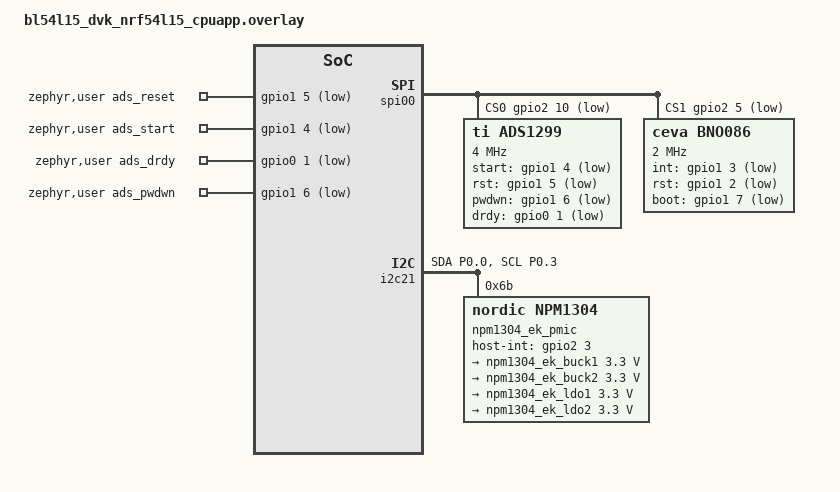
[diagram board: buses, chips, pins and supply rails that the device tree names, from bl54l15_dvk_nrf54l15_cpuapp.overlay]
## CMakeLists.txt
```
cmake_minimum_required(VERSION 3.20.0)

find_package(Zephyr REQUIRED HINTS $ENV{ZEPHYR_BASE})

add_subdirectory(drivers/bno086)
add_subdirectory(drivers/ads1299)

project(snoozy_final)

set(APP_SRC_DIR ${CMAKE_CURRENT_SOURCE_DIR})

target_sources(app PRIVATE
    src/main.c
)

list(APPEND DTS_ROOT ${CMAKE_CURRENT_SOURCE_DIR})
```

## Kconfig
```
#
# Copyright (c) 2018 Nordic Semiconductor
#
# SPDX-License-Identifier: LicenseRef-Nordic-5-Clause
#

source "Kconfig.zephyr"

rsource "drivers/Kconfig"

menu "Snoozy NUS BLE GATT Service"

config BT_NUS_THREAD_STACK_SIZE
	int "Thread stack size"
	default 1024
	help
	  Stack size used in each of the two threads

config BT_NUS_UART_BUFFER_SIZE
	int "UART payload buffer element size"
	default 40
	help
	  Size of the payload buffer in each RX and TX FIFO element

config BT_NUS_SECURITY_ENABLED
	bool "Enable security"
	default y
	select BT_SMP
	help
	  "Enable BLE security for the UART service"

config BT_NUS_UART_RX_WAIT_TIME
	int "Timeout for UART RX complete event"
	default 50000
	help
	  Wait for RX complete event time in microseconds

config SETTINGS
	default y

config ZMS
	default y if (SOC_FLASH_NRF_RRAM || SOC_FLASH_NRF_MRAM)

config NVS
	default y if !(SOC_FLASH_NRF_RRAM || SOC_FLASH_NRF_MRAM)

endmenu
```

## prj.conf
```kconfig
# Bluetooth
CONFIG_BT=y
CONFIG_BT_PERIPHERAL=y
CONFIG_BT_DEVICE_NAME="Snoozy"
CONFIG_BT_NUS=y
CONFIG_BT_GATT_DYNAMIC_DB=y
CONFIG_BT_MAX_CONN=1

# Increase ATT MTU (BLE 4.2+: max 247; payload = MTU - 3 = 244 bytes/notification)
CONFIG_BT_L2CAP_TX_MTU=247
CONFIG_BT_BUF_ACL_TX_SIZE=251
CONFIG_BT_BUF_ACL_RX_SIZE=251
CONFIG_BT_ATT_TX_COUNT=4

# Heap and Workqueue
CONFIG_HEAP_MEM_POOL_SIZE=2048
CONFIG_SYSTEM_WORKQUEUE_STACK_SIZE=2048

# Console for debugging
CONFIG_CONSOLE=y
CONFIG_UART_CONSOLE=n
CONFIG_RTT_CONSOLE=y

# Logging
CONFIG_LOG=y
CONFIG_LOG_MODE_IMMEDIATE=n
CONFIG_LOG_BACKEND_RTT=y
CONFIG_USE_SEGGER_RTT=y

# SPI
CONFIG_SPI=y
CONFIG_SPI_NRFX=y

# I2C
CONFIG_I2C=y
CONFIG_MFD=y

# GPIO
CONFIG_GPIO=y

# BNO086 IMU driver
CONFIG_BNO086=y

# PRINT
CONFIG_PRINTK=y

CONFIG_FAULT_DUMP=2
CONFIG_RESET_ON_FATAL_ERROR=n   # don't auto-reset, so you can see the fault
CONFIG_MAIN_STACK_SIZE=4096

CONFIG_BT_GATT_CLIENT=y
CONFIG_CBPRINTF_FP_SUPPORT=y
```

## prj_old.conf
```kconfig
#
# Copyright (c) 2018 Nordic Semiconductor
#
# SPDX-License-Identifier: LicenseRef-Nordic-5-Clause
#

# Enable the UART driver
CONFIG_UART_ASYNC_API=y
CONFIG_NRFX_UARTE0=n
CONFIG_SERIAL=y

CONFIG_GPIO=y

# Make sure printk is printing to the UART console
CONFIG_CONSOLE=y
CONFIG_UART_CONSOLE=y

CONFIG_HEAP_MEM_POOL_SIZE=2048

CONFIG_BT=y
CONFIG_BT_PERIPHERAL=y
CONFIG_BT_DEVICE_NAME="Snoozy"
CONFIG_BT_MAX_CONN=1
CONFIG_BT_MAX_PAIRED=1

# Enable the NUS service
CONFIG_BT_NUS=y

# Enable bonding
CONFIG_BT_SETTINGS=y
CONFIG_FLASH=y
CONFIG_FLASH_PAGE_LAYOUT=y
CONFIG_FLASH_MAP=y

# Enable DK LED and Buttons library
# CONFIG_DK_LIBRARY=y

CONFIG_SYSTEM_WORKQUEUE_STACK_SIZE=2048
# Config logger
CONFIG_LOG=y
CONFIG_USE_SEGGER_RTT=y
CONFIG_LOG_BACKEND_RTT=y
CONFIG_LOG_BACKEND_UART=n
CONFIG_LOG_PRINTK=n

CONFIG_ASSERT=y

# SPI
CONFIG_SPI=y

# I2C
CONFIG_I2C=y
```

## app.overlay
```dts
/*
 * Copyright (c) 2022 Nordic Semiconductor ASA
 *
 * SPDX-License-Identifier: LicenseRef-Nordic-5-Clause
 */

/ {
	chosen {
		nordic,nus-uart = &uart20;
	};


};
```

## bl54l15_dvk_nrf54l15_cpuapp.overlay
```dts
#include <dt-bindings/regulator/npm13xx.h>
#include <zephyr/dt-bindings/input/input-event-codes.h>
#include <zephyr/dt-bindings/pinctrl/nrf-pinctrl.h>

/*
 * spi00 has no default-gpio-port restriction and is proven to drive GPIO2
 * pins (DVK used it for NOR flash on P2.01/P2.02/P2.04).  spi20 has
 * default-gpio-port = gpio1 and cross-domain MOSI on P2.04 does not work.
 * Move ADS1299 and BNO086 to spi00.
 */

/* Override spi00 pinctrl: board default has MOSI=P2.02/MISO=P2.04 (NOR flash);
 * our PCB routes P2.04→ADS1299 DIN and P2.02→ADS1299 DOUT, so swap them. */
&spi00_default {
    group1 {
        psels = <NRF_PSEL(SPIM_SCK,  2, 1)>,
                <NRF_PSEL(SPIM_MOSI, 2, 4)>,
                <NRF_PSEL(SPIM_MISO, 2, 2)>;
    };
};
&spi00_sleep {
    group1 {
        psels = <NRF_PSEL(SPIM_SCK,  2, 1)>,
                <NRF_PSEL(SPIM_MOSI, 2, 4)>,
                <NRF_PSEL(SPIM_MISO, 2, 2)>;
        low-power-enable;
    };
};

&spi00 {
    status = "okay";
    cs-gpios =  <&gpio2 10 GPIO_ACTIVE_LOW>,   /* ADS1299 CS */
                <&gpio2 5  GPIO_ACTIVE_LOW>;    /* BNO086  CS */
    /* pinctrl-0/1 already point to spi00_default/spi00_sleep from board DTS */

    ads1299: ads1299@0 {
        compatible = "ti,ads1299";
        reg = <0>;
        spi-max-frequency = <4000000>;
        label = "ADS1299";
        start-gpios = <&gpio1 4 GPIO_ACTIVE_LOW>;
        rst-gpios   = <&gpio1 5 GPIO_ACTIVE_LOW>;
        pwdwn-gpios = <&gpio1 6 GPIO_ACTIVE_LOW>;
        drdy-gpios  = <&gpio0 1 GPIO_ACTIVE_LOW>;
    };

    bno086: bno086@1 {
        compatible = "ceva,bno086";
        reg = <1>;
        spi-max-frequency = <2000000>;
        label = "BNO086";
        int-gpios  = <&gpio1 3 GPIO_ACTIVE_LOW>;
        rst-gpios  = <&gpio1 2 GPIO_ACTIVE_LOW>;
        boot-gpios = <&gpio1 7 GPIO_ACTIVE_LOW>;
    };
};

/* Disable spi20 — was used before but cross-domain MOSI doesn't work */
&spi20 {
    status = "disabled";
};

/* Disable the on-board NOR flash that was on spi00 */
&mx25r64 {
    status = "disabled";
};

/ {
    zephyr,user {
        ads_reset_gpios = <&gpio1 5 GPIO_ACTIVE_LOW>;
        ads_start_gpios = <&gpio1 4 GPIO_ACTIVE_LOW>;
        ads_drdy_gpios  = <&gpio0 1 GPIO_ACTIVE_LOW>;
        ads_pwdwn_gpios = <&gpio1 6 GPIO_ACTIVE_LOW>;
    };
};

/* Board enables i2c20 on P0.00/P0.03, same pins we use for i2c21 — disable it */
/* (i2c20_default pinctrl node not present in this board DTS; peripheral disabled below) */

/delete-node/ &{/pin-controller/uart20_default/group1/};
/delete-node/ &{/pin-controller/uart20_default/group2/};

&i2c21 {
    status = "okay";
    pinctrl-0 = <&i2c21_default>;
    pinctrl-1 = <&i2c21_sleep>;
    pinctrl-names = "default", "sleep";

    npm1304_ek_pmic: pmic@6b {
        compatible = "nordic,npm1304";
        reg = <0x6b>;

        long-press-reset = "disabled";
        ship-to-active-time-ms = <1008>;

        /* GPIO0 (P2.03) configured as GPO_IRQ output → nRF54L15 interrupt input */
        host-int-gpios = <&gpio2 3 GPIO_ACTIVE_HIGH>;
        pmic-int-pin = <0>;

        npm1304_ek_gpio: gpio-controller {
            compatible = "nordic,npm1304-gpio";
            gpio-controller;
            #gpio-cells = <2>;
            ngpios = <5>;
        };

        npm1304_ek_regulators: regulators {
            compatible = "nordic,npm1304-regulator";

            npm1304_ek_buck1: BUCK1 {
                regulator-min-microvolt = <3300000>;
                regulator-max-microvolt = <3300000>;
            };
            npm1304_ek_buck2: BUCK2 {
                regulator-min-microvolt = <3300000>;
                regulator-max-microvolt = <3300000>;
            };
            npm1304_ek_ldo1: LDO1 {
                regulator-min-microvolt = <3300000>;
                regulator-max-microvolt = <3300000>;
            };
            npm1304_ek_ldo2: LDO2 {
                regulator-min-microvolt = <3300000>;
                regulator-max-microvolt = <3300000>;
                regulator-always-on;
            };
        };

        npm1304_ek_charger: charger {
            compatible = "nordic,npm1304-charger";
            term-microvolt = <4200000>;
            term-warm-microvolt = <4000000>;
            current-microamp = <250000>;
            vbus-limit-microamp = <500000>;
            thermistor-ohms = <10000>;
            thermistor-beta = <3380>;
            charging-enable;
        };

        npm1304_ek_buttons: buttons {
            compatible = "gpio-keys";

            pmic_button1: pmic_button_1 {
                gpios = <&npm1304_ek_gpio 1 GPIO_ACTIVE_LOW>;
                label = "Pmic button switch 1";
                zephyr,code = <INPUT_KEY_1>;
            };
            pmic_button2: pmic_button_2 {
                gpios = <&npm1304_ek_gpio 2 GPIO_ACTIVE_LOW>;
                label = "Pmic button switch 2";
                zephyr,code = <INPUT_KEY_2>;
            };
        };

        npm1304_ek_leds: leds {
            compatible = "nordic,npm1304-led";
            nordic,led0-mode = "error";
            nordic,led1-mode = "charging";
            nordic,led2-mode = "host";
        };
    };
};

&pinctrl {
    i2c21_default: i2c21_default {
        group1 {
            psels = <NRF_PSEL(TWIM_SDA, 0, 0)>,
                    <NRF_PSEL(TWIM_SCL, 0, 3)>;
        };
    };
    i2c21_sleep: i2c21_sleep {
        group1 {
            psels = <NRF_PSEL(TWIM_SDA, 0, 0)>,
                    <NRF_PSEL(TWIM_SCL, 0, 3)>;
            low-power-enable;
        };
    };
};

&i2c20 {
    status = "disabled";
};

&uart20 {
    status = "disabled";
};

&pwm20 {
    status = "disabled";
};
```

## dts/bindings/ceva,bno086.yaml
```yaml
description: BNO086 IMU

compatible: "ceva,bno086"

include: spi-device.yaml   # this pulls in on-bus: spi automatically

on-bus: spi                  # add this explicitly to be safe

properties:
  spi-max-frequency:
    required: true
  boot-gpios:
    type: phandle-array
    required: false
  int-gpios:
    type: phandle-array
    required: false
  rst-gpios:
    type: phandle-array
    required: false
```

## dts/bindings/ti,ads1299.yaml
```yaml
description: ADS1299 8-channel 24-bit ADC

compatible: "ti,ads1299"

include: spi-device.yaml

on-bus: spi                  # add this explicitly

properties:
  spi-max-frequency:
    required: true
  start-gpios:
    type: phandle-array
    required: false
  rst-gpios:
    type: phandle-array
    required: false
  pwdwn-gpios:
    type: phandle-array
    required: false
  drdy-gpios:
    type: phandle-array
    required: false
```

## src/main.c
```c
/*
 * main.c — BLE NUS EEG window streamer for nRF54L15 (Zephyr RTOS)
 *
 * Commands (sent as plain ASCII over NUS):
 *   "start_meditation"     — stream meditation snippet
 *   "start_mind_wandering" — stream mind-wandering snippet
 *   "stop"                 — halt streaming
 *
 * Streaming structure (3 contexts, 10s apart):
 *
 *   t=0s  — context [0..2559]:
 *     Send 1: ch0[0..1279],    ch1[0..1279]
 *     Send 2: ch0[256..1535],  ch1[256..1535]
 *     Send 3: ch0[512..1791],  ch1[512..1791]
 *     Send 4: ch0[768..2047],  ch1[768..2047]
 *     Send 5: ch0[1024..2303], ch1[1024..2303]
 *     Send 6: ch0[1280..2559], ch1[1280..2559]
 *   wait 10s
 *   t=10s — context [2560..5119]: same window pattern offset by 2560
 *   wait 10s
 *   t=20s — context [5120..7679]: same window pattern offset by 5120
 *
 * Each send = 2560 floats as a flat CSV string:
 *   "ch0_0,ch0_1,...,ch0_1279,ch1_0,ch1_1,...,ch1_1279"
 * Split into 20-byte NUS notifications back-to-back.
 *
 * TypeScript reconstruction per send:
 *   const vals = data.split(',').map(Number);
 *   const ch0 = new Float32Array(vals.slice(0, 1280));
 *   const ch1 = new Float32Array(vals.slice(1280, 2560));
 */

#include <zephyr/kernel.h>
#include <zephyr/sys/printk.h>
#include <zephyr/bluetooth/bluetooth.h>
#include <zephyr/bluetooth/uuid.h>
#include <zephyr/bluetooth/gatt.h>
#include <zephyr/bluetooth/hci.h>
#include <zephyr/logging/log.h>
#include <bluetooth/services/nus.h>

#include <stdio.h>
#include <string.h>
#include <stdint.h>
#include <stdbool.h>

#include "eeg_snippets.h"

LOG_MODULE_REGISTER(ble_streamer, LOG_LEVEL_DBG);

/* -------------------------------------------------------------------------
 * Device / advertising config
 * ---------------------------------------------------------------------- */
#define DEVICE_NAME     CONFIG_BT_DEVICE_NAME
#define DEVICE_NAME_LEN (sizeof(DEVICE_NAME) - 1)

/* -------------------------------------------------------------------------
 * Streaming config
 * ---------------------------------------------------------------------- */
#define BURST_INTERVAL_MS   1666   /* 10s between contexts                  */
#define NUS_MTU_FALLBACK    20      /* used until MTU exchange completes     */
#define TX_RETRY_DELAY_MS   5       /* back-off when TX queue full           */

#define N_CONTEXTS          3       /* 3 x 2560 samples = 7680 total         */
#define N_WINDOWS           6       /* windows per context                   */
#define WINDOW_SAMPLES      EEG_SNIPPET_WINDOW_SAMPLES   /* 1280             */
#define WINDOW_STEP         EEG_SNIPPET_WINDOW_STEP      /* 256              */
#define CONTEXT_SAMPLES     EEG_SNIPPET_CONTEXT_SAMPLES  /* 2560             */

/*
 * Each send = 2 channels x 1280 samples = 2560 floats.
 * Worst case per float: "-XXXX.XXX," = 10 chars.
 * Buffer: 2560 * 10 + 1 = 25601 bytes — kept as static global.
 */
#define FLOATS_PER_SEND   (EEG_SNIPPET_N_CHANNELS * WINDOW_SAMPLES)
#define CSV_BUF_SIZE      (FLOATS_PER_SEND * 10 + 3)
#define WINDOW_INTERVAL_MS  1666   /* ~10s / 6 windows */

/* -------------------------------------------------------------------------
 * State
 * ---------------------------------------------------------------------- */
static struct bt_conn *current_conn;
static bool            stream_enabled;

/* Pointer to active snippet's pre-windowed data [ctx][ch][win][sample] */
static const float (*active_windows)[EEG_SNIPPET_N_CHANNELS][EEG_SNIPPET_N_WINDOWS][EEG_SNIPPET_WINDOW_SAMPLES];

K_SEM_DEFINE(start_sem, 0, 1);

/* Static CSV buffer — too large for thread stack */
static char csv_buf[CSV_BUF_SIZE];

/* -------------------------------------------------------------------------
 * Streaming thread
 * ---------------------------------------------------------------------- */
#define STREAM_STACK_SIZE 2048
#define STREAM_PRIORITY   5
K_THREAD_STACK_DEFINE(stream_stack, STREAM_STACK_SIZE);
static struct k_thread stream_thread_data;

/*
 * nus_send_all() — splits str into ATT-MTU-sized chunks, sends back-to-back.
 * Uses the negotiated MTU (minus 3-byte ATT header); falls back to 20 bytes.
 */
static int nus_send_all(struct bt_conn *conn, const char *str, size_t len)
{
    uint16_t mtu = bt_gatt_get_mtu(conn);
    size_t max_chunk = (mtu > 3) ? (mtu - 3) : NUS_MTU_FALLBACK;
    size_t offset = 0;

    while (offset < len) {
        size_t chunk = MIN(len - offset, max_chunk);
        int err;

        do {
            err = bt_nus_send(conn, (const uint8_t *)(str + offset), chunk);
            if (err == -EAGAIN || err == -ENOMEM) {
                k_msleep(TX_RETRY_DELAY_MS);
            } else if (err) {
                LOG_ERR("bt_nus_send error %d", err);
                return err;
            }
        } while (err != 0);

        offset += chunk;
    }
    return 0;
}

/*
 * build_window_csv() — formats one pre-windowed window for both channels into csv_buf.
 *
 * ctx: context index (0–2), win: window index (0–5)
 *
 * Layout: ch0[0..1279], ch1[0..1279]
 */
static size_t build_window_csv(int ctx, int win)
{
    size_t written = 0;

    csv_buf[written++] = '[';

    for (int ch = 0; ch < EEG_SNIPPET_N_CHANNELS; ch++) {
        for (int s = 0; s < WINDOW_SAMPLES; s++) {
            int n = snprintf(csv_buf + written, CSV_BUF_SIZE - written,
                             "%s%.3f",
                             (written > 1) ? "," : "",
                             (double)active_windows[ctx][ch][win][s]);
            if (n < 0 || (size_t)n >= CSV_BUF_SIZE - written) {
                break;
            }
            written += n;
        }
    }

    csv_buf[written++] = ']';
    csv_buf[written] = '\0';
    return written;
}

static void stream_thread_fn(void *p1, void *p2, void *p3)
{
    ARG_UNUSED(p1);
    ARG_UNUSED(p2);
    ARG_UNUSED(p3);

    while (1) {
        k_sem_take(&start_sem, K_FOREVER);
        LOG_INF("Streaming started");

        for (int ctx = 0; ctx < EEG_SNIPPET_N_CONTEXTS && stream_enabled && current_conn; ctx++) {

            LOG_INF("Context %d/%d", ctx, EEG_SNIPPET_N_CONTEXTS - 1);

            for (int win = 0; win < EEG_SNIPPET_N_WINDOWS && stream_enabled && current_conn; win++) {

                LOG_INF("  Window %d/%d", win, EEG_SNIPPET_N_WINDOWS - 1);

                size_t len = build_window_csv(ctx, win);

                if (nus_send_all(current_conn, csv_buf, len) != 0) {
                    goto stream_stopped;
                }

                if (win < EEG_SNIPPET_N_WINDOWS - 1 && stream_enabled && current_conn) {
                    k_msleep(WINDOW_INTERVAL_MS);
                }
            }

            if (ctx < EEG_SNIPPET_N_CONTEXTS - 1 && stream_enabled && current_conn) {
                k_msleep(BURST_INTERVAL_MS);
            }
        }

        if (stream_enabled) {
            LOG_INF("All contexts sent -- streaming complete");
            stream_enabled = false;
        }

stream_stopped:
        LOG_INF("Streaming stopped");
    }
}

/* -------------------------------------------------------------------------
 * NUS callbacks
 * ---------------------------------------------------------------------- */
static void nus_rx_cb(struct bt_conn *conn, const uint8_t *data, uint16_t len)
{
    if (len >= 16 && memcmp(data, "start_meditation", 16) == 0) {
        if (!stream_enabled) {
            active_windows = eeg_meditation_windows;
            stream_enabled = true;
            LOG_INF("Snippet: meditation");
            k_sem_give(&start_sem);
        }
    } else if (len >= 20 && memcmp(data, "start_mind_wandering", 20) == 0) {
        if (!stream_enabled) {
            active_windows = eeg_mind_wandering_windows;
            stream_enabled = true;
            LOG_INF("Snippet: mind_wandering");
            k_sem_give(&start_sem);
        }
    } else if (len >= 4 && memcmp(data, "stop", 4) == 0) {
        LOG_INF("Stop command received");
        stream_enabled = false;
    } else {
        LOG_WRN("Unknown command (len=%u)", len);
    }
}

static struct bt_nus_cb nus_cb = {
    .received = nus_rx_cb,
};

/* -------------------------------------------------------------------------
 * Advertising data
 * ---------------------------------------------------------------------- */
static const struct bt_data ad[] = {
    BT_DATA_BYTES(BT_DATA_FLAGS, (BT_LE_AD_GENERAL | BT_LE_AD_NO_BREDR)),
    BT_DATA_BYTES(BT_DATA_UUID128_ALL, BT_UUID_NUS_VAL),
};

static const struct bt_data sd[] = {
    BT_DATA(BT_DATA_NAME_COMPLETE, DEVICE_NAME, DEVICE_NAME_LEN),
};

/* -------------------------------------------------------------------------
 * BT connection callbacks
 * ---------------------------------------------------------------------- */
static void mtu_exchange_cb(struct bt_conn *conn, uint8_t err,
                             struct bt_gatt_exchange_params *params)
{
    if (!err) {
        LOG_INF("MTU exchanged: %u bytes/notification", bt_gatt_get_mtu(conn) - 3);
    } else {
        LOG_WRN("MTU exchange failed (err %u), using %u bytes", err, NUS_MTU_FALLBACK);
    }
}

static struct bt_gatt_exchange_params mtu_exchange_params = {
    .func = mtu_exchange_cb,
};

static void connected(struct bt_conn *conn, uint8_t err)
{
    if (err) {
        LOG_ERR("Connection failed (err %u)", err);
        return;
    }
    current_conn = bt_conn_ref(conn);
    LOG_INF("Connected");
    bt_gatt_exchange_mtu(conn, &mtu_exchange_params);
}

static void disconnected(struct bt_conn *conn, uint8_t reason)
{
    LOG_INF("Disconnected (reason %u)", reason);
    stream_enabled = false;

    if (current_conn) {
        bt_conn_unref(current_conn);
        current_conn = NULL;
    }
    int err = bt_le_adv_start(
        BT_LE_ADV_PARAM(BT_LE_ADV_OPT_CONN,
                        BT_GAP_ADV_FAST_INT_MIN_2,
                        BT_GAP_ADV_FAST_INT_MAX_2,
                        NULL),
        ad, ARRAY_SIZE(ad),
        sd, ARRAY_SIZE(sd));
    if (err) {
        LOG_ERR("Advertising restart failed (err %d)", err);
    }
}

BT_CONN_CB_DEFINE(conn_callbacks) = {
    .connected    = connected,
    .disconnected = disconnected,
};

/* -------------------------------------------------------------------------
 * Entry point
 * ---------------------------------------------------------------------- */
int main(void)
{
    int err;

    LOG_INF("BLE EEG streamer starting");

    err = bt_enable(NULL);
    if (err) {
        LOG_ERR("bt_enable failed (err %d)", err);
        return err;
    }

    err = bt_nus_init(&nus_cb);
    if (err) {
        LOG_ERR("bt_nus_init failed (err %d)", err);
        return err;
    }

    err = bt_le_adv_start(
        BT_LE_ADV_PARAM(BT_LE_ADV_OPT_CONN,
                        BT_GAP_ADV_FAST_INT_MIN_2,
                        BT_GAP_ADV_FAST_INT_MAX_2,
                        NULL),
        ad, ARRAY_SIZE(ad),
        sd, ARRAY_SIZE(sd));
    if (err) {
        LOG_ERR("bt_le_adv_start failed (err %d)", err);
        return err;
    }
    LOG_INF("Advertising as \"%s\"", DEVICE_NAME);

    k_thread_create(&stream_thread_data, stream_stack,
                     K_THREAD_STACK_SIZEOF(stream_stack),
                     stream_thread_fn,
                     NULL, NULL, NULL,
                     STREAM_PRIORITY, 0, K_NO_WAIT);
    k_thread_name_set(&stream_thread_data, "ble_stream");

    return 0;
}
```

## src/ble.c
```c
#include <zephyr/kernel.h>
#include <zephyr/bluetooth/bluetooth.h>
#include <zephyr/bluetooth/gatt.h>
#include <bluetooth/services/nus.h>
#include <zephyr/logging/log.h>

LOG_MODULE_REGISTER(ble_module);

static struct bt_conn *current_conn;

static const struct bt_data ad[] = {
    BT_DATA_BYTES(BT_DATA_FLAGS, 
        (BT_LE_AD_GENERAL | BT_LE_AD_NO_BREDR)),
};

static const struct bt_data sd[] = {
    BT_DATA_BYTES(BT_DATA_UUID128_ALL, BT_UUID_NUS_VAL),
};

static void connected(struct bt_conn *conn, uint8_t err)
{
    if (err) {
        LOG_ERR("Connection failed (err %u)", err);
        return;
    }

    current_conn = bt_conn_ref(conn);
    LOG_INF("Connected");
}

static void disconnected(struct bt_conn *conn, uint8_t reason)
{
    if (current_conn) {
        bt_conn_unref(current_conn);
        current_conn = NULL;
    }

    LOG_INF("Disconnected");
}

BT_CONN_CB_DEFINE(conn_callbacks) = {
    .connected = connected,
    .disconnected = disconnected,
};

void ble_init(void)
{
    int err;

    err = bt_enable(NULL);
    if (err) {
        LOG_ERR("Bluetooth init failed (err %d)", err);
        return;
    }

    LOG_INF("Bluetooth initialized");

    err = bt_nus_init(NULL);
    if (err) {
        LOG_ERR("NUS init failed (err %d)", err);
        return;
    }

    err = bt_le_adv_start(BT_LE_ADV_CONN_FAST_1,
                          ad, ARRAY_SIZE(ad),
                          sd, ARRAY_SIZE(sd));
    if (err) {
        LOG_ERR("Advertising failed (err %d)", err);
        return;
    }

    LOG_INF("Advertising started");
}

bool ble_is_connected(void)
{
    return current_conn != NULL;
}

int ble_send(const uint8_t *data, uint16_t len)
{
    if (!current_conn) {
        return -ENOTCONN;
    }

    return bt_nus_send(current_conn, data, len);
}
```

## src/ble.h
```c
#ifndef BLE_H
#define BLE_H

#include <stdint.h>
#include <stdbool.h>

void ble_init(void);
bool ble_is_connected(void);
int ble_send(const uint8_t *data, uint16_t len);

#endif
```

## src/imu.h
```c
#include <zephyr/drivers/spi.h>
```

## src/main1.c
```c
#include <zephyr/kernel.h>
#include <zephyr/sys/printk.h>
#include <zephyr/drivers/spi.h>
#include <zephyr/drivers/gpio.h>
#include <zephyr/devicetree.h>

#define CMD_SDATAC 0x11
#define CMD_RREG   0x20
#define REG_ID     0x00

#define ZEPHYR_USER_NODE DT_PATH(zephyr_user)

static const struct spi_dt_spec ads_spi =
    SPI_DT_SPEC_GET(DT_NODELABEL(ads1299),
                    SPI_WORD_SET(8) | SPI_TRANSFER_MSB | SPI_MODE_CPHA,
                    0);

static const struct gpio_dt_spec reset_pin =
    GPIO_DT_SPEC_GET(ZEPHYR_USER_NODE, ads_reset_gpios);

static const struct gpio_dt_spec start_pin =
    GPIO_DT_SPEC_GET(ZEPHYR_USER_NODE, ads_start_gpios);

static const struct gpio_dt_spec pwdwn_pin =
    GPIO_DT_SPEC_GET(ZEPHYR_USER_NODE, ads_pwdwn_gpios);

static int read_id_register(void)
{
    int ret;

    uint8_t tx_cmd[] = { CMD_SDATAC };
    struct spi_buf txb1 = {
        .buf = tx_cmd,
        .len = sizeof(tx_cmd),
    };
    struct spi_buf_set txs1 = {
        .buffers = &txb1,
        .count = 1,
    };

    ret = spi_write_dt(&ads_spi, &txs1);
    if (ret) {
        printk("spi_write_dt(SDATAC) failed: %d\n", ret);
        return ret;
    }

    k_sleep(K_MSEC(10));

    uint8_t tx_read[] = { CMD_RREG | REG_ID, 0x00, 0x00 };
    uint8_t rx_read[3] = {0};

    struct spi_buf txb2 = {
        .buf = tx_read,
        .len = sizeof(tx_read),
    };
    struct spi_buf_set txs2 = {
        .buffers = &txb2,
        .count = 1,
    };

    struct spi_buf rxb2 = {
        .buf = rx_read,
        .len = sizeof(rx_read),
    };
    struct spi_buf_set rxs2 = {
        .buffers = &rxb2,
        .count = 1,
    };

    ret = spi_transceive_dt(&ads_spi, &txs2, &rxs2);
    if (ret) {
        printk("spi_transceive_dt(RREG) failed: %d\n", ret);
        return ret;
    }

    printk("RX bytes: %02X %02X %02X\n", rx_read[0], rx_read[1], rx_read[2]);
    printk("ADS1299 ID Register returned: 0x%02X\n", rx_read[2]);

    if (rx_read[2] == 0x3C) {
        printk("SUCCESS! Pure C Zephyr SPI is working.\n");
    } else {
        printk("ERROR: Expected 0x3C. Check wiring.\n");
    }

    return 0;
}

int main(void)
{
    int ret;

    k_sleep(K_MSEC(5000));
    printk("Starting Zephyr ADS1299 Test...\n");

    if (!spi_is_ready_dt(&ads_spi)) {
        printk("Fatal: SPI bus not ready!\n");
        return 0;
    }

    if (!gpio_is_ready_dt(&reset_pin) || !gpio_is_ready_dt(&start_pin)) {
        printk("Fatal: GPIO device not ready!\n");
        return 0;
    }

    ret = gpio_pin_configure_dt(&reset_pin, GPIO_OUTPUT_INACTIVE);
    if (ret) {
        printk("reset configure failed: %d\n", ret);
        return 0;
    }

    ret = gpio_pin_configure_dt(&start_pin, GPIO_OUTPUT_INACTIVE);
    if (ret) {
        printk("start configure failed: %d\n", ret);
        return 0;
    }

    ret = gpio_pin_configure_dt(&pwdwn_pin, GPIO_OUTPUT_INACTIVE);
    if (ret) {
        printk("pwdwn configure failed: %d\n", ret);
        return 0;
    }
    
    gpio_pin_set_dt(&pwdwn_pin, 0);  // bring chip out of power down
    gpio_pin_set_dt(&reset_pin, 0);  // bring reset high
    k_sleep(K_MSEC(50));
    printk("OK: PWDN high\n");
    /* For active-low reset: logical 1 asserts reset low, logical 0 releases it high */
    gpio_pin_set_dt(&reset_pin, 1);
    k_sleep(K_MSEC(10));
    gpio_pin_set_dt(&reset_pin, 0);
    k_sleep(K_MSEC(50));

    read_id_register();
    return 0;
}
```

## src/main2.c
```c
#include <zephyr/kernel.h>
#include <zephyr/drivers/gpio.h>
#include <zephyr/logging/log.h>
#include <zephyr/sys/printk.h>
#include <zephyr/drivers/spi.h>
#include <zephyr/devicetree.h>

LOG_MODULE_REGISTER(gpio_test, LOG_LEVEL_DBG);
#
#define ZEPHYR_USER_NODE DT_PATH(zephyr_user)
/* Control pins */
static const struct gpio_dt_spec rst = GPIO_DT_SPEC_GET(ZEPHYR_USER_NODE, ads_reset_gpios);
static const struct gpio_dt_spec start = GPIO_DT_SPEC_GET(ZEPHYR_USER_NODE, ads_start_gpios);
static const struct gpio_dt_spec drdy = GPIO_DT_SPEC_GET(ZEPHYR_USER_NODE, ads_drdy_gpios);
static const struct gpio_dt_spec pwdwn = GPIO_DT_SPEC_GET(ZEPHYR_USER_NODE, ads_pwdwn_gpios);
static const struct gpio_dt_spec cs    = GPIO_DT_SPEC_GET_BY_IDX(DT_NODELABEL(spi20), cs_gpios, 0);
//static const struct gpio_dt_spec mosi = GPIO_DT_SPEC_GET(ZEPHYR_USER_NODE, ads_mosi_gpios);

int main(void)
{
    k_sleep(K_MSEC(5000));
    LOG_INF("=== GPIO Toggle Test ===");

    /* Verify all GPIO controllers are ready before use */
    if (!device_is_ready(pwdwn.port)) { LOG_ERR("pwdwn port not ready"); return -1; }
    if (!device_is_ready(rst.port))   { LOG_ERR("rst port not ready");   return -1; }
    if (!device_is_ready(start.port)) { LOG_ERR("start port not ready"); return -1; }
    if (!device_is_ready(cs.port))    { LOG_ERR("cs port not ready");    return -1; }
    if (!device_is_ready(drdy.port))  { LOG_ERR("drdy port not ready");  return -1; }
    //if (!device_is_ready(mosi.port))  { LOG_ERR("drdy port not ready");  return -1; }

    /* Configure outputs — GPIO_OUTPUT_ACTIVE drives pin to its active state.
     * All pins are GPIO_ACTIVE_LOW in DT, so ACTIVE = physical LOW.
     * Use GPIO_OUTPUT_INACTIVE to start deasserted (physical HIGH). */
    gpio_pin_configure_dt(&pwdwn, GPIO_OUTPUT_INACTIVE);
    gpio_pin_configure_dt(&rst,   GPIO_OUTPUT_INACTIVE);
    gpio_pin_configure_dt(&start, GPIO_OUTPUT_INACTIVE);
    gpio_pin_configure_dt(&cs,    GPIO_OUTPUT_INACTIVE);
    //gpio_pin_configure_dt(&mosi,    GPIO_OUTPUT_INACTIVE);

    /* Configure input */
    gpio_pin_configure_dt(&drdy, GPIO_INPUT);

    LOG_INF("All pins configured");

    while (1) {
        /* NOTE: pins are GPIO_ACTIVE_LOW — set(1) = physical LOW, set(0) = physical HIGH */
        LOG_INF("PWDN: physical LOW  (P1.06)"); gpio_pin_set_dt(&pwdwn, 1); k_sleep(K_MSEC(500));
        LOG_INF("PWDN: physical HIGH (P1.06)"); gpio_pin_set_dt(&pwdwn, 0); k_sleep(K_MSEC(500));

        LOG_INF("RST:  physical LOW  (P1.05)"); gpio_pin_set_dt(&rst,   1); k_sleep(K_MSEC(500));
        LOG_INF("RST:  physical HIGH (P1.05)"); gpio_pin_set_dt(&rst,   0); k_sleep(K_MSEC(500));

        LOG_INF("START: physical LOW  (P1.04)"); gpio_pin_set_dt(&start, 1); k_sleep(K_MSEC(500));
        LOG_INF("START: physical HIGH (P1.04)"); gpio_pin_set_dt(&start, 0); k_sleep(K_MSEC(500));

        LOG_INF("CS: physical LOW  (P2.05)"); gpio_pin_set_dt(&cs, 1); k_sleep(K_MSEC(500));
        LOG_INF("CS: physical HIGH (P2.05)"); gpio_pin_set_dt(&cs, 0); k_sleep(K_MSEC(500));

        //LOG_INF("MOSI: physical LOW  (P2.04)"); gpio_pin_set_dt(&mosi, 1); k_sleep(K_MSEC(500));
        //LOG_INF("MOSI: physical HIGH (P2.04)"); gpio_pin_set_dt(&mosi, 0); k_sleep(K_MSEC(500));

        LOG_INF("DRDY = %d (P0.01)", gpio_pin_get_dt(&drdy));
//
        LOG_INF("--- next cycle ---");
        k_sleep(K_MSEC(1000));
    }

    return 0;
}
```

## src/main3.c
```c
#include <zephyr/kernel.h>
#include <zephyr/sys/printk.h>
#include <zephyr/sys/util.h>
#include <zephyr/sys/byteorder.h>
#include <zephyr/drivers/spi.h>
#include <zephyr/drivers/gpio.h>
#include <zephyr/devicetree.h>

#include <zephyr/bluetooth/bluetooth.h>
#include <zephyr/bluetooth/uuid.h>
#include <zephyr/bluetooth/gatt.h>
#include <zephyr/bluetooth/hci.h>

#include <bluetooth/services/nus.h>

#include <errno.h>
#include <stdbool.h>
#include <stdint.h>
#include <string.h>

#define CMD_WAKEUP  0x02
#define CMD_STANDBY 0x04
#define CMD_RESET   0x06
#define CMD_START   0x08
#define CMD_STOP    0x0A
#define CMD_RDATAC  0x10
#define CMD_SDATAC  0x11
#define CMD_RDATA   0x12
#define CMD_RREG    0x20
#define CMD_WREG    0x40

#define REG_ID         0x00
#define REG_CONFIG1    0x01
#define REG_CONFIG2    0x02
#define REG_CONFIG3    0x03
#define REG_LOFF       0x04
#define REG_CH1SET     0x05
#define REG_CH2SET     0x06
#define REG_CH3SET     0x07
#define REG_CH4SET     0x08
#define REG_CH5SET     0x09
#define REG_CH6SET     0x0A
#define REG_CH7SET     0x0B
#define REG_CH8SET     0x0C
#define REG_BIAS_SENSP 0x0D
#define REG_BIAS_SENSN 0x0E
#define REG_LOFF_SENSP 0x0F
#define REG_LOFF_SENSN 0x10
#define REG_LOFF_FLIP  0x11
#define REG_LOFF_STATP 0x12
#define REG_LOFF_STATN 0x13
#define REG_GPIO       0x14
#define REG_MISC1      0x15
#define REG_MISC2      0x16
#define REG_CONFIG4    0x17

#define ADS_NUM_CHANNELS 8
#define ADS_FRAME_BYTES (3 + ADS_NUM_CHANNELS * 3)

#define STREAM_DECIMATION 1U
#define PACKET_SIZE 40

#define ZEPHYR_USER_NODE DT_PATH(zephyr_user)
#define DEVICE_NAME      CONFIG_BT_DEVICE_NAME
#define DEVICE_NAME_LEN  (sizeof(DEVICE_NAME) - 1)

static const struct spi_dt_spec ads_spi =
    SPI_DT_SPEC_GET(DT_NODELABEL(ads1299),
                    SPI_WORD_SET(8) | SPI_TRANSFER_MSB | SPI_MODE_CPHA,
                    0);

static const struct gpio_dt_spec reset_pin =
    GPIO_DT_SPEC_GET(ZEPHYR_USER_NODE, ads_reset_gpios);

static const struct gpio_dt_spec start_pin =
    GPIO_DT_SPEC_GET(ZEPHYR_USER_NODE, ads_start_gpios);

static const struct gpio_dt_spec drdy_pin =
    GPIO_DT_SPEC_GET(ZEPHYR_USER_NODE, ads_drdy_gpios);

static const struct gpio_dt_spec pwdwn_pin =
    GPIO_DT_SPEC_GET(ZEPHYR_USER_NODE, ads_pwdwn_gpios);

static struct bt_conn *current_conn;
static bool ble_ready;
static bool stream_enabled;
static bool stream_requested;
static int64_t stream_start_at_ms;

static const struct bt_data ad[] = {
    BT_DATA_BYTES(BT_DATA_FLAGS, (BT_LE_AD_GENERAL | BT_LE_AD_NO_BREDR)),
    BT_DATA_BYTES(BT_DATA_UUID128_ALL, BT_UUID_NUS_VAL)
};

static const struct bt_data sd[] = {
    BT_DATA(BT_DATA_NAME_COMPLETE, DEVICE_NAME, DEVICE_NAME_LEN),
};

static int ads_spi_write_bytes(const uint8_t *data, size_t len)
{
    struct spi_buf txb = {
        .buf = (void *)data,
        .len = len,
    };
    struct spi_buf_set txs = {
        .buffers = &txb,
        .count = 1,
    };

    return spi_write_dt(&ads_spi, &txs);
}

static int ads_spi_transceive_bytes(const uint8_t *tx_data, uint8_t *rx_data, size_t len)
{
    struct spi_buf txb = {
        .buf = (void *)tx_data,
        .len = len,
    };
    struct spi_buf_set txs = {
        .buffers = &txb,
        .count = 1,
    };

    struct spi_buf rxb = {
        .buf = rx_data,
        .len = len,
    };
    struct spi_buf_set rxs = {
        .buffers = &rxb,
        .count = 1,
    };

    return spi_transceive_dt(&ads_spi, &txs, &rxs);
}

static int ads_send_cmd(uint8_t cmd)
{
    int ret = ads_spi_write_bytes(&cmd, 1);
    k_busy_wait(10);
    return ret;
}

static int ads_read_reg(uint8_t reg, uint8_t *value)
{
    int ret;
    uint8_t tx[3] = {
        (uint8_t)(CMD_RREG | reg),
        0x00,
        0x00
    };
    uint8_t rx[3] = {0};

    ret = ads_spi_transceive_bytes(tx, rx, sizeof(tx));
    if (ret == 0) {
        *value = rx[2];
    }

    return ret;
}

static int ads_write_reg(uint8_t reg, uint8_t value)
{
    uint8_t tx[3] = {
        (uint8_t)(CMD_WREG | reg),
        0x00,
        value
    };

    return ads_spi_write_bytes(tx, sizeof(tx));
}

static int ads_write_regs(uint8_t start_reg, const uint8_t *values, size_t count)
{
    uint8_t tx[2 + 27];

    if (count == 0 || count > 27) {
        return -EINVAL;
    }

    tx[0] = (uint8_t)(CMD_WREG | start_reg);
    tx[1] = (uint8_t)(count - 1);

    for (size_t i = 0; i < count; i++) {
        tx[2 + i] = values[i];
    }

    return ads_spi_write_bytes(tx, 2 + count);
}

static int ads_wait_drdy_low_timeout_ms(int timeout_ms)
{
    int loops = timeout_ms * 10;

    for (int i = 0; i < loops; i++) {
        int val = gpio_pin_get_dt(&drdy_pin);
        if (val < 0) {
            return val;
        }

        if (val == 0) {
            return 0;
        }

        k_busy_wait(100);
    }

    return -ETIMEDOUT;
}

static int32_t ads_decode24(const uint8_t *p)
{
    int32_t v = ((int32_t)p[0] << 16) |
                ((int32_t)p[1] << 8)  |
                ((int32_t)p[2]);

    if (v & 0x800000) {
        v |= (int32_t)0xFF000000;
    }

    return v;
}

static int ads_read_frame_rdata(uint8_t frame[ADS_FRAME_BYTES])
{
    int ret;
    uint8_t tx[1 + ADS_FRAME_BYTES];
    uint8_t rx[1 + ADS_FRAME_BYTES];

    tx[0] = CMD_RDATA;
    for (int i = 1; i < (int)sizeof(tx); i++) {
        tx[i] = 0x00;
    }

    ret = ads_spi_transceive_bytes(tx, rx, sizeof(tx));
    if (ret) {
        return ret;
    }

    for (int i = 0; i < ADS_FRAME_BYTES; i++) {
        frame[i] = rx[i + 1];
    }

    return 0;
}

static int ads_dump_key_regs(void)
{
    static const uint8_t regs[] = {
        REG_ID, REG_CONFIG1, REG_CONFIG2, REG_CONFIG3,
        REG_CH1SET, REG_CH2SET, REG_CH3SET, REG_CH4SET,
        REG_CH5SET, REG_CH6SET, REG_CH7SET, REG_CH8SET,
        REG_BIAS_SENSP, REG_BIAS_SENSN, REG_MISC1, REG_MISC2, REG_CONFIG4
    };

    for (size_t i = 0; i < ARRAY_SIZE(regs); i++) {
        uint8_t v = 0;
        int ret = ads_read_reg(regs[i], &v);
        if (ret) {
            printk("reg 0x%02X read failed: %d\n", regs[i], ret);
            return ret;
        }
        printk("REG 0x%02X = 0x%02X\n", regs[i], v);
    }

    return 0;
}

static int ads_print_id(void)
{
    int ret;
    uint8_t id = 0;

    ret = ads_send_cmd(CMD_SDATAC);
    if (ret) return ret;
    k_sleep(K_MSEC(2));

    ret = ads_read_reg(REG_ID, &id);
    if (ret) return ret;

    printk("ADS1299 ID: 0x%02X\n", id);
    return 0;
}

static int ads_configure_external_ch1_mode(void)
{
    int ret;

    /*
     * CH1 = normal electrode input, gain 24, SRB2 open, powered on
     * CH2-CH8 = powered down
     *
     * 0x60 = 0110 0000
     *   PDn=0 (on)
     *   GAIN=110 (x24)
     *   MUX=000 (normal electrode input)
     *
     * 0xE1 = 1110 0001
     *   PDn=1 (off)
     *   GAIN=110 (x24, irrelevant when off)
     *   MUX=001
     */
    uint8_t chset_all[8] = {
        0x60, /* CH1 active, normal input */
        0xE1, /* CH2 off */
        0xE1, /* CH3 off */
        0xE1, /* CH4 off */
        0xE1, /* CH5 off */
        0xE1, /* CH6 off */
        0xE1, /* CH7 off */
        0xE1  /* CH8 off */
    };

    ret = ads_send_cmd(CMD_SDATAC);
    if (ret) return ret;
    k_sleep(K_MSEC(2));

    ret = ads_send_cmd(CMD_STOP);
    if (ret) return ret;
    k_sleep(K_MSEC(2));

    /* 250 SPS, daisy disabled */
    ret = ads_write_reg(REG_CONFIG1, 0x96);
    if (ret) return ret;

    /*
     * External signal mode:
     * internal test source disabled
     */
    ret = ads_write_reg(REG_CONFIG2, 0xC0);
    if (ret) return ret;

    /*
     * Keep internal reference buffer enabled, bias buffer on.
     * This stays close to your previous working setup.
     */
    ret = ads_write_reg(REG_CONFIG3, 0x60);
    if (ret) return ret;

    /* Disable lead-off for this simple bench test */
    ret = ads_write_reg(REG_LOFF, 0x00);
    if (ret) return ret;
    ret = ads_write_reg(REG_LOFF_SENSP, 0x00);
    if (ret) return ret;
    ret = ads_write_reg(REG_LOFF_SENSN, 0x00);
    if (ret) return ret;
    ret = ads_write_reg(REG_LOFF_FLIP, 0x00);
    if (ret) return ret;

    /*
     * No channels added to bias drive for this first external bench test.
     * Keep it simple while injecting a small external signal.
     */
    ret = ads_write_reg(REG_BIAS_SENSP, 0x00);
    if (ret) return ret;
    ret = ads_write_reg(REG_BIAS_SENSN, 0x00);
    if (ret) return ret;

    /*
     * SRB1 off, SRB2 handled per-channel via CHnSET.
     * CH1SET above keeps SRB2 disconnected.
     */
    ret = ads_write_reg(REG_MISC1, 0x00);
    if (ret) return ret;
    ret = ads_write_reg(REG_MISC2, 0x00);
    if (ret) return ret;
    ret = ads_write_reg(REG_CONFIG4, 0x00);
    if (ret) return ret;

    ret = ads_write_regs(REG_CH1SET, chset_all, sizeof(chset_all));
    if (ret) return ret;

    k_sleep(K_MSEC(2));
    return 0;
}

static void build_binary_packet(uint8_t pkt[PACKET_SIZE], uint32_t sample_idx,
                                const uint8_t frame[ADS_FRAME_BYTES])
{
    uint32_t status = ((uint32_t)frame[0] << 16) |
                      ((uint32_t)frame[1] << 8)  |
                      ((uint32_t)frame[2]);

    sys_put_le32(sample_idx, &pkt[0]);
    sys_put_le32(status, &pkt[4]);

    for (int ch = 0; ch < ADS_NUM_CHANNELS; ch++) {
        int32_t sample = ads_decode24(&frame[3 + ch * 3]);
        sys_put_le32((uint32_t)sample, &pkt[8 + ch * 4]);
    }
}

static void nus_send_binary(const uint8_t *data, uint16_t len)
{
    if (current_conn) {
        int err = bt_nus_send(current_conn, data, len);
        if (err) {
            printk("bt_nus_send err=%d\n", err);
        }
    }
}

static void bt_receive_cb(struct bt_conn *conn, const uint8_t *const data,
              uint16_t len)
{
    char msg[64];
    size_t n = MIN((size_t)len, sizeof(msg) - 1);

    memcpy(msg, data, n);
    msg[n] = '\0';

    printk("BLE RX: %s\n", msg);

    if (strstr(msg, "start") != NULL) {
        stream_requested = true;
        stream_enabled = false;
        stream_start_at_ms = k_uptime_get() + 200;
        printk("Streaming requested\n");
    } else if (strstr(msg, "stop") != NULL) {
        stream_requested = false;
        stream_enabled = false;
        printk("Streaming disabled\n");
    }
}

static struct bt_nus_cb nus_cb = {
    .received = bt_receive_cb,
};

static void connected(struct bt_conn *conn, uint8_t err)
{
    if (err) {
        printk("BLE connect failed: %u\n", err);
        return;
    }

    if (current_conn != NULL) {
        bt_conn_unref(current_conn);
        current_conn = NULL;
    }

    current_conn = bt_conn_ref(conn);
    stream_requested = false;
    stream_enabled = false;
    printk("BLE connected\n");
}

static void disconnected(struct bt_conn *conn, uint8_t reason)
{
    ARG_UNUSED(conn);
    ARG_UNUSED(reason);

    if (current_conn != NULL) {
        bt_conn_unref(current_conn);
        current_conn = NULL;
    }

    stream_requested = false;
    stream_enabled = false;
    printk("BLE disconnected\n");
}

BT_CONN_CB_DEFINE(conn_callbacks) = {
    .connected = connected,
    .disconnected = disconnected,
};

static int ble_init(void)
{
    int err = bt_enable(NULL);
    if (err) {
        printk("bt_enable failed: %d\n", err);
        return err;
    }

    err = bt_nus_init(&nus_cb);
    if (err) {
        printk("bt_nus_init failed: %d\n", err);
        return err;
    }

    err = bt_le_adv_start(BT_LE_ADV_CONN_FAST_2,
                          ad, ARRAY_SIZE(ad),
                          sd, ARRAY_SIZE(sd));
    if (err) {
        printk("bt_le_adv_start failed: %d\n", err);
        return err;
    }

    ble_ready = true;
    printk("BLE advertising as %s\n", DEVICE_NAME);
    return 0;
}

int main(void)
{
    int ret;
    uint8_t frame[ADS_FRAME_BYTES];
    uint8_t pkt[PACKET_SIZE];
    uint32_t sample_idx = 0;

    k_sleep(K_MSEC(5000));
    if (!spi_is_ready_dt(&ads_spi)) {
        printk("SPI device not ready\n");
        return 0;
    }

    ret = gpio_pin_configure_dt(&reset_pin, GPIO_OUTPUT_INACTIVE);
    if (ret) {
        printk("reset configure failed: %d\n", ret);
        return 0;
    }

    ret = gpio_pin_configure_dt(&start_pin, GPIO_OUTPUT_INACTIVE);
    if (ret) {
        printk("start configure failed: %d\n", ret);
        return 0;
    }

    ret = gpio_pin_configure_dt(&drdy_pin, GPIO_INPUT);
    if (ret) {
        printk("drdy configure failed: %d\n", ret);
        return 0;
    }

    ret = gpio_pin_configure_dt(&pwdwn_pin, GPIO_OUTPUT_INACTIVE);
    if (ret) {
        printk("FAIL: pwdwn configure failed: %d\n", ret);
        return 0;
    }
    gpio_pin_set_dt(&pwdwn_pin, 1);  // bring chip out of power down
    k_sleep(K_MSEC(100));
    printk("OK: PWDN high\n");

    /*
     * Keep START low; we will use SPI START command.
     */
    gpio_pin_set_dt(&start_pin, 1);

    /*
     * Hardware reset pulse.
     * If your DTS marks the line as active low, gpio_pin_set_dt()
     * handles that for you.
     */
    gpio_pin_set_dt(&reset_pin, 0);
    k_sleep(K_MSEC(100));
    gpio_pin_set_dt(&reset_pin, 1);
    k_sleep(K_MSEC(100));

    ret = ads_send_cmd(CMD_RESET);
    if (ret) {
        printk("CMD_RESET failed: %d\n", ret);
        return 0;
    }
    printk("OK: reset sequence done\n");
    k_sleep(K_MSEC(10));

    ret = ads_print_id();
    if (ret) {
        printk("ads_print_id failed: %d\n", ret);
        return 0;
    }

    ret = ads_configure_external_ch1_mode();
    if (ret) {
        printk("ads_configure_external_ch1_mode failed: %d\n", ret);
        return 0;
    }

    ret = ads_dump_key_regs();
    if (ret) {
        printk("ads_dump_key_regs failed: %d\n", ret);
        return 0;
    }

    ret = ads_send_cmd(CMD_START);
    if (ret) {
        printk("START cmd failed: %d\n", ret);
        return 0;
    }

    k_sleep(K_MSEC(4));

    ret = ble_init();
    if (ret) {
        return 0;
    }

    printk("Waiting for BLE RX command 'start'\n");
    printk("External test setup expected:\n");
    printk("  ESP32-S2 attenuated node -> CH1P\n");
    printk("  CH1N -> reference/return node\n");
    printk("  other channels off\n");

    while (1) {
        if (stream_requested && !stream_enabled && k_uptime_get() >= stream_start_at_ms) {
            stream_enabled = true;
            printk("Streaming enabled\n");
        }

        if (!stream_enabled) {
            k_sleep(K_MSEC(50));
            continue;
        }

        ret = ads_wait_drdy_low_timeout_ms(1000);
        if (ret) {
            printk("DRDY timeout/error: %d\n", ret);
            k_sleep(K_MSEC(10));
            continue;
        }

        ret = ads_read_frame_rdata(frame);
        if (ret) {
            printk("RDATA read error: %d\n", ret);
            k_sleep(K_MSEC(10));
            continue;
        }

        if ((sample_idx % STREAM_DECIMATION) == 0U) {
            build_binary_packet(pkt, sample_idx, frame);
            nus_send_binary(pkt, sizeof(pkt));
        }

        if ((sample_idx % 250U) == 0U) {
            int32_t ch1 = ads_decode24(&frame[3]);
            printk("sample=%lu status=%02X%02X%02X ch1=%ld\n",
                   (unsigned long)sample_idx,
                   frame[0], frame[1], frame[2],
                   (long)ch1);
        }

        sample_idx++;
    }
}
```

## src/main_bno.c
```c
#include <zephyr/kernel.h>
#include <zephyr/sys/printk.h>
#include <zephyr/logging/log.h>

#include "../drivers/bno086/bno086.h"

LOG_MODULE_REGISTER(bno_test, LOG_LEVEL_DBG);

static void on_bno_data(const bno086_data_t *data)
{
    switch (data->type) {

    case BNO086_REPORT_ROTATION:
        printk("QUAT i=%.4f j=%.4f k=%.4f r=%.4f acc=%.4f\n",
               (double)data->quat.i,
               (double)data->quat.j,
               (double)data->quat.k,
               (double)data->quat.real,
               (double)data->quat.accuracy);
        break;

    case BNO086_REPORT_ACCEL:
        printk("ACCEL x=%.3f y=%.3f z=%.3f m/s^2\n",
               (double)data->accel.x,
               (double)data->accel.y,
               (double)data->accel.z);
        break;

    case BNO086_REPORT_GYRO:
        printk("GYRO  x=%.3f y=%.3f z=%.3f rad/s\n",
               (double)data->gyro.x,
               (double)data->gyro.y,
               (double)data->gyro.z);
        break;
    }
}

int main(void)
{
    int ret;

    k_sleep(K_MSEC(2000));
    printk("BNO086 SPI test starting\n");

    ret = bno086_init(on_bno_data);
    if (ret) {
        printk("FAIL: bno086_init returned %d\n", ret);
        printk("Check: SPI wiring, RST pin, BOOT pin tied high\n");
        return 0;
    }

    printk("OK: bno086_init complete — servicing\n");

    while (1) {
        bno086_service();
        k_sleep(K_MSEC(1));
    }
}
```

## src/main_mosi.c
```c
#include <zephyr/kernel.h>
#include <zephyr/drivers/gpio.h>
#include <zephyr/logging/log.h>
#include <zephyr/sys/printk.h>
#include <zephyr/drivers/spi.h>
#include <zephyr/devicetree.h>

const struct device *gpio2 = DEVICE_DT_GET(DT_NODELABEL(gpio2));

int main(void)
{
    // Temporarily claim MOSI pin as GPIO output
    gpio_pin_configure(gpio2, 4, GPIO_OUTPUT);  // P2.04 = MOSI
    while(1){
        gpio_pin_set(gpio2, 4, 1);
        k_sleep(K_MSEC(100));
        gpio_pin_set(gpio2, 4, 0);
        k_sleep(K_MSEC(100));
    }
}
```

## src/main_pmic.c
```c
#include <zephyr/kernel.h>
#include <zephyr/device.h>
#include <zephyr/drivers/i2c.h>
#include <zephyr/logging/log.h>

LOG_MODULE_REGISTER(power_mgr, LOG_LEVEL_INF);

/* nPM1304 I2C address */
#define NPM1304_ADDR        0x6B

/* Ship mode register (same as nPM1300) */
#define NPM1304_SHIP_BASE   0x0B
#define NPM1304_SHIP_OFFSET 0x01  /* TASKSHIPMODE register */
#define NPM1304_SHIP_VAL    0x01  /* Trigger ship mode task */

#define I2C_NODE DT_NODELABEL(i2c21)
static const struct device *i2c = DEVICE_DT_GET(I2C_NODE);

static int enter_ship_mode(void)
{
    /* Write 0x01 to TASKSHIPMODE register (base 0x0B, offset 0x01)
     * nPM1304 uses 16-bit register addressing: [base_addr, offset, value] */
    uint8_t buf[] = { NPM1304_SHIP_BASE, NPM1304_SHIP_OFFSET, NPM1304_SHIP_VAL };
    return i2c_write(i2c, buf, sizeof(buf), NPM1304_ADDR);
}

int main(void)
{
    if (!device_is_ready(i2c)) {
        LOG_ERR("I2C not ready");
        return -ENODEV;
    }

    LOG_INF("System on — LED should be lit");

    /* Wait 5 seconds so you can see the LED is on */
    k_msleep(5000);

    LOG_INF("Entering ship mode — LED should turn off");
    k_msleep(50);

    int ret = enter_ship_mode();
    if (ret != 0) {
        LOG_ERR("Failed to enter ship mode: %d", ret);
        return ret;
    }

    /* Should never reach here */
    return 0;
}
```
